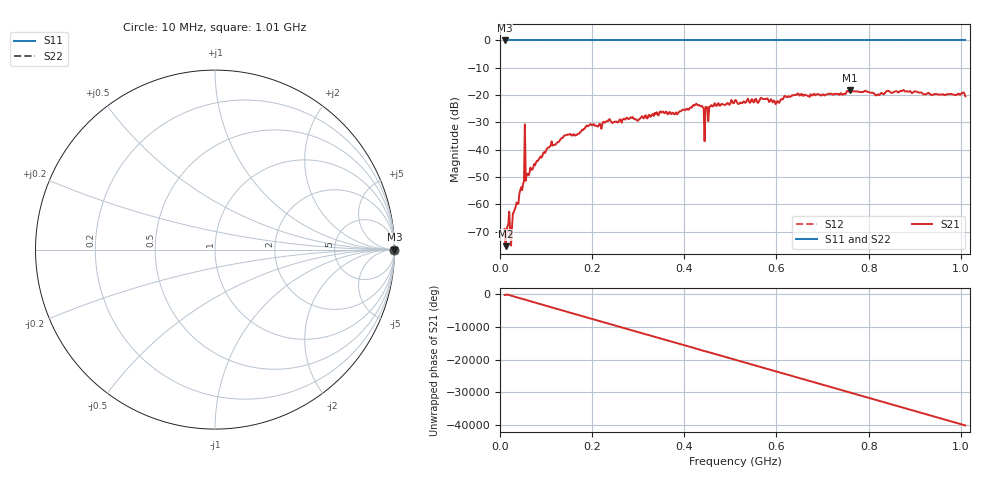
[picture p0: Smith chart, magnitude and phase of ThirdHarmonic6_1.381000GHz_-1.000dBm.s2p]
! 8/16/2025 3:41:50 PM
! C:\ANRITSUVNA\TEMP\TEMP.S2P
! CHANNEL.1
! TR.MEASUREMENT
! RAW.DATA
! RF.CORRECTION.OFF
! AVERAGING.OFF
! IF.BANDWIDTH: 5KHZ
! SWEEPTYPE:  FREQ.SWEEP(Linear)
! Reference Plane Port Info
! PORT:  PORT1  PORT2
! DISTANCE:  0  m  0  m
! TIME:  0  s  0  s
! PHASE.OFFSET:  0  deg.  0  deg.
! LOSS:  0  dB  0  dB
! REF.LOSS:  0  dB  0  dB
! REF.FREQ:  0  Hz  0  Hz
! Power Info
! POWER:  -20  dBm  -20  dBm
! EFF.POWER:  -20  dBm  -20  dBm
! SOURCE.ATTEN:  0  dB  0  dB
! TEST.ATTEN:  0  dB  0  dB
# GHZ S RI R 50.0
! FREQ.GHZ  S11RE  S11IM  S21RE  S21IM  S12RE  S12IM  S22RE  S22IM
!; PortSelection: Port_12
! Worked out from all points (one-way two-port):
!   501 points, 10 MHz to 1.01 GHz, reference 50 ohm
!   highest |S21| = -18.10 dB at 760 MHz (marker M1); lowest = -75.3 dB at 12 MHz (marker M2)
!   lowest |S11| = 0.0 dB at 10 MHz (marker M3)
!   |S11| at or under -10 dB: nowhere
!   |S22| runs from 0.0 to 0.0 dB; largest |S21 - S12| = 1.1
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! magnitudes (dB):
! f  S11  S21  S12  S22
! 10 MHz  0.0  -69.0  0.0  0.0
! 12 MHz  0.0  -75.3  0.0  0.0
! 18 MHz  0.0  -67.3  0.0  0.0
! 26 MHz  0.0  -68.3  0.0  0.0
! 32 MHz  0.0  -61.8  0.0  0.0
! 48 MHz  0.0  -54.8  0.0  0.0
! 50 MHz  0.0  -52.4  0.0  0.0
! 58 MHz  0.0  -48.9  0.0  0.0
! 60 MHz  0.0  -48.8  0.0  0.0
! 108 MHz  0.0  -38.8  0.0  0.0
! 178 MHz  0.0  -32.7  0.0  0.0
! 344 MHz  0.0  -27.4  0.0  0.0
! 428 MHz  0.0  -23.6  0.0  0.0
! 448 MHz  0.0  -24.5  0.0  0.0
! 450 MHz  0.0  -24.5  0.0  0.0
! 458 MHz  0.0  -23.7  0.0  0.0
! 510 MHz  0.0  -21.9  0.0  0.0
! 602 MHz  0.0  -22.1  0.0  0.0
! 678 MHz  0.0  -20.1  0.0  0.0
! 760 MHz  0.0  -18.1  0.0  0.0
! 844 MHz  0.0  -18.4  0.0  0.0
! 1.01 GHz  0.0  -20.4  0.0  0.0
